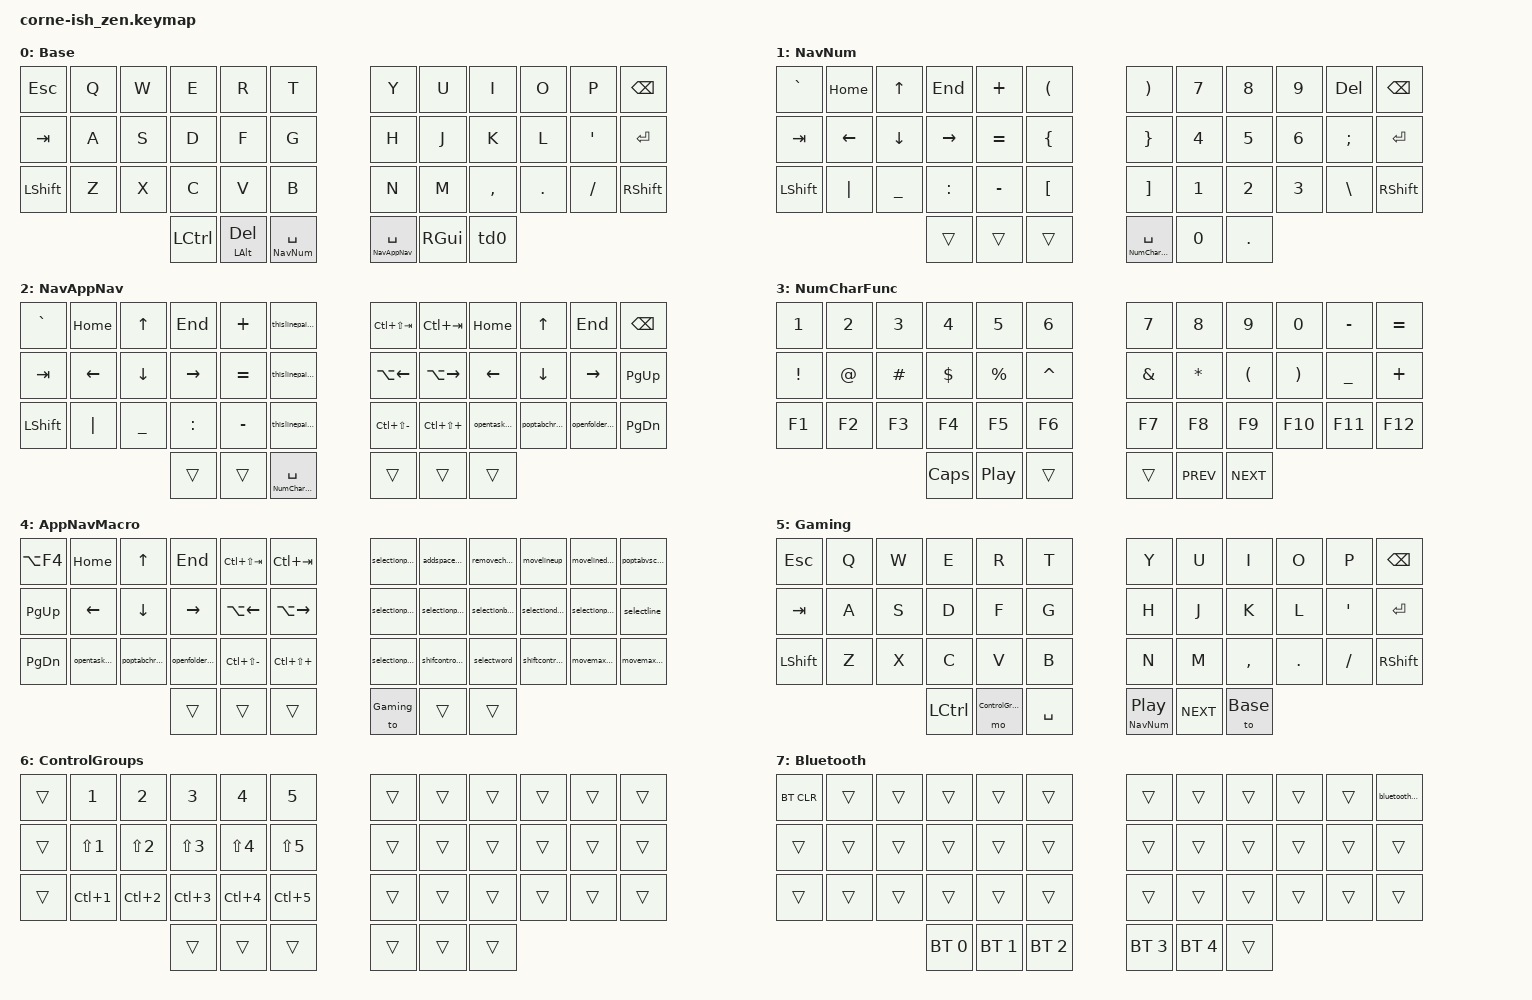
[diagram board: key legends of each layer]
/*
*
* Copyright (c) 2021 Darryl deHaan
* SPDX-License-Identifier: MIT
*
*/

#include <behaviors.dtsi>
#include <dt-bindings/zmk/keys.h>
#include <dt-bindings/zmk/bt.h>

#define Base 0
#define NavNum 1
#define NavAppNav 2
#define NumCharFunc 3
#define AppNavMacro 4
#define Gaming 5
#define ControlGroups 6
#define Bluetooth 7

/ {
        macros {
                // htmlformat: htmlformat {
                //         compatible = "zmk,behavior-macro";
                //         label = "ZM_htmlformat";
                //         #binding-cells = <0>;
                //         wait-ms = <5>;
                //         tap-ms = <5>;
                //         bindings = <&kp HOME>
                //                  , <&kp H &kp T &kp M &kp L &kp V &kp I &kp E &kp W &kp L &kp I &kp N &kp E &kp LEFT_PARENTHESIS &kp DOUBLE_QUOTES>
                //                  , <&kp END>
                //                  , <&kp DOUBLE_QUOTES &kp RIGHT_PARENTHESIS>
                //                  , <&kp DOWN>
                //                  ;
                // };
                // quoteswap: quoteswap {
                //         compatible = "zmk,behavior-macro";
                //         label = "ZM_quoteswap";
                //         #binding-cells = <0>;
                //         wait-ms = <5>;
                //         tap-ms = <5>;
                //         bindings = <&kp LC(H)>
                //                  , <&kp DOUBLE_QUOTES>
                //                  , <&kp TAB>
                //                  , <&kp DOUBLE_QUOTES &kp PLUS &kp Q &kp U &kp O &kp T &kp E &kp PLUS &kp DOUBLE_QUOTES>
                //                  , <&kp LA(A)>
                //                  , <&kp ESC>
                //                  ;
                // }; 
                addspacedown: addspacedown {
                        compatible = "zmk,behavior-macro";
                        label = "ZM_addspacedown";
                        #binding-cells = <0>;
                        wait-ms = <5>;
                        tap-ms = <5>;
                        bindings = <&kp HOME>
                                 , <&kp SPACE>
                                 , <&kp DOWN>
                                 ;
                }; 
                selectiondoend: selectiondoend {
                        compatible = "zmk,behavior-macro";
                        label = "ZM_selectiondoend";
                        #binding-cells = <0>;
                        wait-ms = <5>;
                        tap-ms = <5>;
                        bindings = <&kp LC(X)>
                                 , <&kp D &kp O>
                                 , <&kp ENTER>
                                 , <&kp LC(V)>
                                 , <&kp ENTER>
                                 , <&kp E &kp N &kp D>                               
                                 ;
                }; 
                selectionpairparen: selectionpairparen {
                        compatible = "zmk,behavior-macro";
                        label = "ZM_selectionpairparen";
                        #binding-cells = <0>;
                        wait-ms = <5>;
                        tap-ms = <5>;
                        bindings = <&kp LC(X)>
                                 , <&kp LPAR>
                                 , <&kp LC(V)>
                                 , <&kp RPAR>                               
                                 ;
                };
                selectionpairbraces: selectionpairbraces {
                        compatible = "zmk,behavior-macro";
                        label = "ZM_selectionpairbraces";
                        #binding-cells = <0>;
                        wait-ms = <5>;
                        tap-ms = <5>;
                        bindings = <&kp LC(X)>
                                 , <&kp LBRC>
                                 , <&kp LC(V)>
                                 , <&kp RBRC>
                                 ;
                };    
                selectionpairbrackets: selectionpairbrackets {
                        compatible = "zmk,behavior-macro";
                        label = "ZM_selectionpairbrackets";
                        #binding-cells = <0>;
                        wait-ms = <5>;
                        tap-ms = <5>;
                        bindings = <&kp LC(X)>
                                 , <&kp LBKT>
                                 , <&kp LC(V)>
                                 , <&kp RBKT>                               
                                 ;
                };    
                selectionpairquotes: selectionpairquotes {
                        compatible = "zmk,behavior-macro";
                        label = "ZM_selectionpairquotes";
                        #binding-cells = <0>;
                        wait-ms = <5>;
                        tap-ms = <5>;
                        bindings = <&kp LC(X)>
                                 , <&kp DQT>
                                 , <&kp LC(V)>
                                 , <&kp DQT>                               
                                 ;
                };           
                selectline: selectline {
                        compatible = "zmk,behavior-macro";
                        label = "ZM_selectline";
                        #binding-cells = <0>;
                        wait-ms = <5>;
                        tap-ms = <5>;
                        bindings = <&kp HOME>
                                 , <&kp LS(END)>                               
                                 ;
                };   
                selectword: selectword {
                        compatible = "zmk,behavior-macro";
                        label = "ZM_selectword";
                        #binding-cells = <0>;
                        wait-ms = <5>;
                        tap-ms = <5>;
                        bindings = <&kp LC(LEFT)>
                                 , <&kp LC(LS(RIGHT))>                               
                                 ;
                };     
                selectionblockcomment: selectionblockcomment {
                        compatible = "zmk,behavior-macro";
                        label = "ZM_selectionblockcomment";
                        #binding-cells = <0>;
                        wait-ms = <5>;
                        tap-ms = <5>;
                        bindings = <&kp LC(X)>
                                 , <&kp SLASH &kp ASTRK>
                                 , <&kp LC(V)>
                                 , <&kp ASTRK &kp SLASH>                               
                                 ;
                };  
                selectionpairinequality: selectionpairinequality {
                        compatible = "zmk,behavior-macro";
                        label = "ZM_selectionpairinequality";
                        #binding-cells = <0>;
                        wait-ms = <5>;
                        tap-ms = <5>;
                        bindings = <&kp LC(X)>
                                 , <&kp LESS_THAN>
                                 , <&kp LC(V)>
                                 , <&kp GREATER_THAN>                               
                                 ;
                }; 
                thislinepairparen: thislinepairparen {
                        compatible = "zmk,behavior-macro";
                        label = "ZM_thislinepairparen";
                        #binding-cells = <0>;
                        wait-ms = <5>;
                        tap-ms = <5>;
                        bindings = <&selectline> 
                                 , <&kp LC(X)>
                                 , <&kp LPAR>
                                 , <&kp LC(V)>
                                 , <&kp RPAR>                               
                                 ;
                };
                thislinepairbraces: thislinepairbraces {
                        compatible = "zmk,behavior-macro";
                        label = "ZM_thislinepairbraces";
                        #binding-cells = <0>;
                        wait-ms = <5>;
                        tap-ms = <5>;
                        bindings = <&selectline> 
                                 , <&kp LC(X)>
                                 , <&kp LBRC>
                                 , <&kp LC(V)>
                                 , <&kp RBRC>                               
                                 ;
                };  
                thislinepairbrackets: thislinepairbrackets {
                        compatible = "zmk,behavior-macro";
                        label = "ZM_thislinepairbrackets";
                        #binding-cells = <0>;
                        wait-ms = <5>;
                        tap-ms = <5>;
                        bindings = <&selectline> 
                                 , <&kp LC(X)>
                                 , <&kp LBKT>
                                 , <&kp LC(V)>
                                 , <&kp RBKT>                               
                                 ;
                };         
                // chromesearch: chromesearch {
                //         compatible = "zmk,behavior-macro";
                //         label = "ZM_chromesearch";
                //         #binding-cells = <0>;
                //         wait-ms = <5>;
                //         tap-ms = <5>;
                //         bindings = <&kp LC(C)> 
                //                  , <&kp LGUI &macro_wait_time 100>
                //                  , <&macro_wait_time 5 &kp C &kp H &kp R &kp O &kp M &kp E>
                //                  , <&kp ENTER>
                //                  , <&kp LA(D)>
                //                  , <&kp LC(V)>
                //                  , <&kp ENTER>                               
                //                  ;
                // }; 
                poptabchrome: poptabchrome {
                        compatible = "zmk,behavior-macro";
                        label = "ZM_poptabchrome";
                        #binding-cells = <0>;
                        wait-ms = <5>;
                        tap-ms = <5>;
                        bindings = <&kp LA(D)>
                                 , <&kp LC(C)>
                                 , <&kp LC(W)>
                                 , <&kp LC(N)>
                                 , <&kp LC(V)>
                                 , <&kp ENTER>                               
                                 ;
                }; 
                openfolderincmd: openfolderincmd {
                        compatible = "zmk,behavior-macro";
                        label = "ZM_openfolderincmd";
                        #binding-cells = <0>;
                        wait-ms = <5>;
                        tap-ms = <5>;
                        bindings = <&kp LA(D)>
                                 , <&kp C &kp M &kp D>
                                 , <&kp ENTER>                              
                                 ;
                };    
                removecharacterdown: removecharacterdown {
                        compatible = "zmk,behavior-macro";
                        label = "ZM_removecharacterdown";
                        #binding-cells = <0>;
                        wait-ms = <5>;
                        tap-ms = <5>;
                        bindings = <&kp HOME>
                                 , <&kp DEL>
                                 , <&kp DOWN>                            
                                 ;
                }; 
                movelineup: movelineup {
                        compatible = "zmk,behavior-macro";
                        label = "ZM_movelineup";
                        #binding-cells = <0>;
                        wait-ms = <5>;
                        tap-ms = <5>;
                        bindings = <&selectline>
                                 , <&kp LC(X)>
                                 , <&kp BSPC>
                                 , <&kp HOME>
                                 , <&kp ENTER>
                                 , <&kp UP>
                                 , <&kp LC(V)>                               
                                 ;
                }; 
                movelinedown: movelinedown {
                        compatible = "zmk,behavior-macro";
                        label = "ZM_movelinedown";
                        #binding-cells = <0>;
                        wait-ms = <5>;
                        tap-ms = <5>;
                        bindings = <&selectline>
                                 , <&kp LC(X)>
                                 , <&kp BSPC>
                                 , <&kp DOWN>
                                 , <&kp END>
                                 , <&kp ENTER>
                                 , <&kp LC(V)>                               
                                 ;
                }; 
                // deleteword: deleteword {
                //         compatible = "zmk,behavior-macro";
                //         label = "ZM_deleteword";
                //         #binding-cells = <0>;
                //         wait-ms = <5>;
                //         tap-ms = <5>;
                //         bindings = <&shifcontrolleft>
                //                  , <&kp BSPC>                            
                //                  ;
                // };  
                shifcontrolleft: shifcontrolleft {
                        compatible = "zmk,behavior-macro";
                        label = "ZM_shifcontrolleft";
                        #binding-cells = <0>;
                        wait-ms = <5>;
                        tap-ms = <5>;
                        bindings = <&kp LS(LC(LEFT))>                          
                                 ;
                }; 
                shiftcontrolright: shiftcontrolright {
                        compatible = "zmk,behavior-macro";
                        label = "ZM_shiftcontrolright";
                        #binding-cells = <0>;
                        wait-ms = <5>;
                        tap-ms = <5>;
                        bindings = <&kp LS(LC(RIGHT))>                          
                                 ;
                }; 
                movemaxwindowleft: movemaxwindowleft {
                        compatible = "zmk,behavior-macro";
                        label = "ZM_movemaxwindowleft";
                        #binding-cells = <0>;
                        wait-ms = <5>;
                        tap-ms = <5>;
                        bindings = <&kp LS(LG(LEFT))>   
                                 , <&kp LG(UP)>                       
                                 ;
                }; 
                movemaxwindowright: movemaxwindowright {
                        compatible = "zmk,behavior-macro";
                        label = "ZM_movemaxwindowright";
                        #binding-cells = <0>;
                        wait-ms = <5>;
                        tap-ms = <5>;
                        bindings = <&kp LS(LG(RIGHT))>
                                 , <&kp LG(UP)>                                 
                                 ;
                }; 
                opentaskmanager: opentaskmanager {
                        compatible = "zmk,behavior-macro";
                        label = "ZM_opentaskmanager";
                        #binding-cells = <0>;
                        wait-ms = <5>;
                        tap-ms = <5>;
                        bindings = <&kp LS(LC(ESC))>                          
                                 ;
                };     
                bluetoothstring: bluetoothstring {
                        compatible = "zmk,behavior-macro";
                        label = "ZM_bluetoothstring";
                        #binding-cells = <0>;
                        wait-ms = <5>;
                        tap-ms = <5>;
                        bindings = <&kp B &kp L &kp U &kp E &kp T &kp O &kp O &kp T &kp H >                          
                                 ;
                };     
                poptabvscode: poptabvscode {
                        compatible = "zmk,behavior-macro";
                        label = "ZM_poptabvscode";
                        #binding-cells = <0>;
                        wait-ms = <5>;
                        tap-ms = <5>;
                        bindings = <&kp LC(K)>
                                 , <&kp O>                          
                                 ;
                };                   
        };
};
 
/ {
        behaviors {
                td0: tap_dance_0 {
                        compatible = "zmk,behavior-tap-dance";
                        label = "TAP_DANCE_0";
                        #binding-cells = <0>;
                        tapping-term-ms = <200>;
                        bindings = <&mo AppNavMacro>, <&mo AppNavMacro>, <&mo Bluetooth>;
                };
    };

        keymap {
                compatible = "zmk,keymap";

                Base {
                        bindings = <
                                &kp ESC      &kp Q        &kp W        &kp E        &kp R        &kp T            &kp Y               &kp U        &kp I        &kp O        &kp P        &kp BSPC
                                &kp TAB      &kp A        &kp S        &kp D        &kp F        &kp G            &kp H               &kp J        &kp K        &kp L        &kp SQT      &kp ENTER
                                &kp LSHFT    &kp Z        &kp X        &kp C        &kp V        &kp B            &kp N               &kp M        &kp COMMA    &kp DOT      &kp SLASH    &kp RSHFT
                                                                       &kp LCTRL    &mt LALT DEL &lt NavNum SPACE &lt NavAppNav SPACE &kp RGUI     &td0
                        >;
                };

                NavNum {
                        bindings = <
                                &kp GRAVE    &kp HOME     &kp UP       &kp END      &kp PLUS     &kp LPAR              &kp RPAR              &kp N7       &kp N8       &kp N9       &kp DEL      &kp BSPC     
                                &kp TAB      &kp LEFT     &kp DOWN     &kp RIGHT    &kp EQUAL    &kp LBRC              &kp RBRC              &kp N4       &kp N5       &kp N6       &kp SEMI     &kp ENTER    
                                &kp LSHFT    &kp PIPE     &kp UNDER    &kp COLON    &kp MINUS    &kp LBKT              &kp RBKT              &kp N1       &kp N2       &kp N3       &kp BSLH     &kp RSHFT    
                                                                       &trans       &trans       &trans                &lt NumCharFunc SPACE &kp N0       &kp DOT       
                        >;
                };

                NavAppNav {
                        bindings = <
                                &kp GRAVE    &kp HOME     &kp UP       &kp END      &kp PLUS     &thislinepairparen    &kp LC(LS(TAB))       &kp LC(TAB)      &kp HOME         &kp UP     &kp END          &kp BSPC     
                                &kp TAB      &kp LEFT     &kp DOWN     &kp RIGHT    &kp EQUAL    &thislinepairbraces   &kp LA(LEFT)          &kp LA(RIGHT)    &kp LEFT         &kp DOWN   &kp RIGHT        &kp PAGE_UP    
                                &kp LSHFT    &kp PIPE     &kp UNDER    &kp COLON    &kp MINUS    &thislinepairbrackets &kp LC(LS(MINUS))     &kp LC(LS(PLUS)) &opentaskmanager &poptabchrome &openfolderincmd &kp PAGE_DOWN  
                                                                       &trans       &trans       &lt NumCharFunc SPACE &trans                &trans           &trans       
                        >;
                };

                NumCharFunc {
                        bindings = <
                                &kp N1       &kp N2       &kp N3       &kp N4       &kp N5       &kp N6       &kp N7       &kp N8       &kp N9       &kp N0       &kp MINUS    &kp EQUAL    
                                &kp EXCL     &kp AT       &kp HASH     &kp DLLR     &kp PRCNT    &kp CARET    &kp AMPS     &kp ASTRK    &kp LPAR     &kp RPAR     &kp UNDER    &kp PLUS   
                                &kp F1       &kp F2       &kp F3       &kp F4       &kp F5       &kp F6       &kp F7       &kp F8       &kp F9       &kp F10      &kp F11      &kp F12    
                                                                       &kp CAPS     &kp C_PP     &trans       &trans       &kp C_PREV   &kp C_NEXT     
                        >;
                };

                AppNavMacro {
                        bindings = <
                                &kp LA(F4)    &kp HOME         &kp UP     &kp END          &kp LC(LS(TAB))   &kp LC(TAB)      &selectionpairparen    &addspacedown            &removecharacterdown   &movelineup        &movelinedown        &poptabvscode       
                                &kp PG_UP     &kp LEFT         &kp DOWN   &kp RIGHT        &kp LA(LEFT)      &kp LA(RIGHT)    &selectionpairbraces   &selectionpairinequality &selectionblockcomment &selectiondoend    &selectionpairquotes &selectline
                                &kp PAGE_DOWN &opentaskmanager &poptabchrome &openfolderincmd &kp LC(LS(MINUS)) &kp LC(LS(PLUS)) &selectionpairbrackets &shifcontrolleft         &selectword            &shiftcontrolright &movemaxwindowleft   &movemaxwindowright
                                                                          &trans           &trans            &trans           &to Gaming             &trans                   &trans
   
                        >;
                };
                Gaming {
                        bindings = <
                                &kp ESC      &kp Q        &kp W        &kp E        &kp R             &kp T        &kp Y           &kp U        &kp I        &kp O        &kp P        &kp BSPC
                                &kp TAB      &kp A        &kp S        &kp D        &kp F             &kp G        &kp H           &kp J        &kp K        &kp L        &kp SQT      &kp ENTER
                                &kp LSHFT    &kp Z        &kp X        &kp C        &kp V             &kp B        &kp N           &kp M        &kp COMMA    &kp DOT      &kp SLASH    &kp RSHFT
                                                                       &kp LCTRL    &mo ControlGroups &kp SPACE    &lt NavNum C_PP &kp C_NEXT   &to Base
                        >;                
                };
                ControlGroups {
                        bindings = <
                                &trans       &kp N1       &kp N2       &kp N3       &kp N4       &kp N5       &trans       &trans       &trans       &trans       &trans       &trans       
                                &trans       &kp LS(N1)   &kp LS(N2)   &kp LS(N3)   &kp LS(N4)   &kp LS(N5)   &trans       &trans       &trans       &trans       &trans       &trans       
                                &trans       &kp LC(N1)   &kp LC(N2)   &kp LC(N3)   &kp LC(N4)   &kp LC(N5)   &trans       &trans       &trans       &trans       &trans       &trans       
                                                                       &trans       &trans       &trans       &trans       &trans       &trans       

                       >; 
                };  
                Bluetooth {
                        bindings = <
                                &bt BT_CLR   &trans       &trans       &trans        &trans        &trans        &trans        &trans       &trans   &trans       &trans       &bluetoothstring       
                                &trans       &trans       &trans       &trans        &trans        &trans        &trans        &trans       &trans   &trans       &trans       &trans       
                                &trans       &trans       &trans       &trans        &trans        &trans        &trans        &trans       &trans   &trans       &trans       &trans       
                                                                       &bt BT_SEL 0  &bt BT_SEL 1  &bt BT_SEL 2  &bt BT_SEL 3  &bt BT_SEL 4 &trans       

                       >; 
                };                              
        };
};
